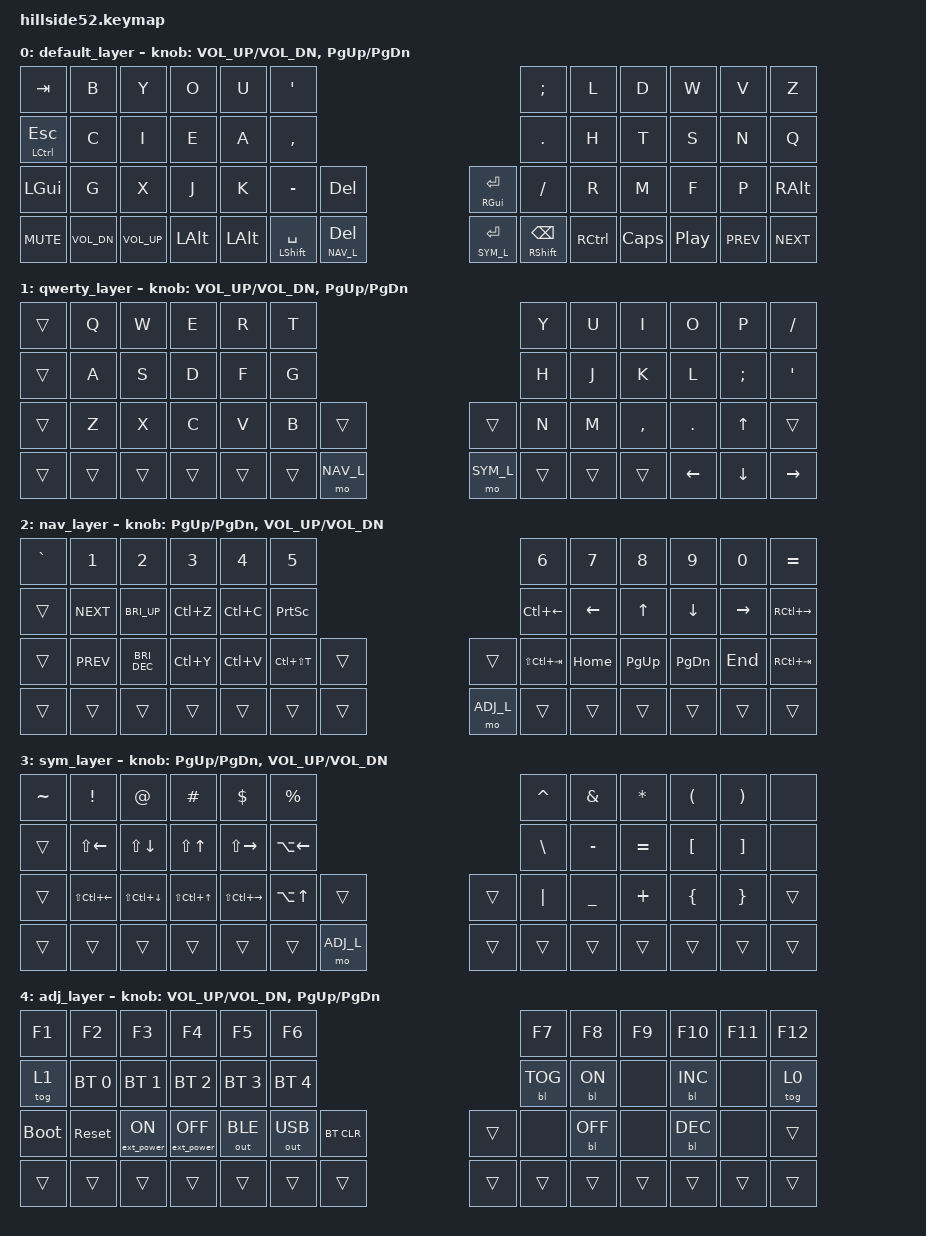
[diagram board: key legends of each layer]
/*
 * Copyright (c) 2021-2022 The ZMK Contributors
 *
 *
 * SPDX-License-Identifier: MIT
 */

#include <behaviors.dtsi>
#include <dt-bindings/zmk/backlight.h>
#include <dt-bindings/zmk/bt.h>
#include <dt-bindings/zmk/ext_power.h>
#include <dt-bindings/zmk/keys.h>
#include <dt-bindings/zmk/outputs.h>

#define ENGRAM_L 0
#define QWERTY_L 1
#define NAV_L    2
#define SYM_L    3
#define ADJ_L    4
#define Undo   LC(Z)
#define Cut    LC(X)
#define Copy   LC(C)
#define Paste  LC(V)
#define Redo   LC(Y)

/ {
    keymap {
        compatible = "zmk,keymap";

        default_layer {
            // ENGRAM
            // -------------------------------------------------------------------------------------------------------------------------------------
            // | ESC   |   B   |   Y   |   O   |   U   |   '   |-----------------------------------|   ;   |   L   |   D   |   W   |   V   |   Z   |
            // | TAB   |   C   |   I   |   E   |   A   |   ,   |-----------------------------------|   .   |   H   |   T   |   S   |   N   |   Q   |
            // | CTRL  |   G   |   X   |   J   |   K   |   -   | DEL   |-------------------| ENTER |   /   |   R   |   M   |   F   |   P   | CTRL  |
            // | GUI   | Copy  | Paste |-------|  ALT  | SHIFT | SPACE |  Nav  |---|  Sym  | BCSC  | SHIFT | ALT   |-------|   `   |   \   |   =   |
            //

            bindings = <
&kp TAB           &kp B         &kp Y         &kp O  &kp U     &kp SQT                                                                             &kp SEMI    &kp L         &kp D  &kp W             &kp V       &kp Z
&mt LCTRL ESCAPE  &kp C         &kp I         &kp E  &kp A     &kp COMMA                                                                           &kp PERIOD  &kp H         &kp T  &kp S             &kp N       &kp Q
&kp LEFT_GUI      &kp G         &kp X         &kp J  &kp K     &kp MINUS  &kp DEL                                             &mt RIGHT_GUI ENTER  &kp SLASH   &kp R         &kp M  &kp F             &kp P       &kp RALT
&kp K_MUTE        &kp C_VOL_DN  &kp C_VOL_UP         &kp LALT  &kp LALT   &mt LSHFT SPACE  &lt NAV_L DELETE  &lt SYM_L ENTER  &mt RSHFT BACKSPACE  &kp RCTRL   &kp CAPSLOCK         &kp C_PLAY_PAUSE  &kp K_PREV  &kp K_NEXT
            >;

            sensor-bindings = <&inc_dec_kp C_VOL_UP C_VOL_DN &inc_dec_kp PG_UP PG_DN>;
        };

        qwerty_layer {
            /* QWERTY
 * -------------------------------------------------------------------------------------------------------------------------------------
 * | ESC   |   Q   |   W   |   E   |   R   |   T   |-----------------------------------|   Y   |   U   |   I   |   O   |   P   |   /   |
 * | TAB   |   A   |   S   |   D   |   F   |   G   |-----------------------------------|   H   |   J   |   K   |   L   |   ;   |   '   |
 * | CTRL  |   Z   |   X   |   C   |   V   |   B   | DEL   |-------------------| ENTER |   N   |   M   |   ,   |   .   |  Up   | CTRL  |
 * | GUI   | Copy  | Paste |-------|  ALT  | SHIFT | SPACE |  Nav  |---|  Sym  | BCSC  | SHIFT | ALT   |-------| Left  | Down  | Right |
 */

            bindings = <
&trans  &kp Q   &kp W   &kp E  &kp R   &kp T                                         &kp Y   &kp U   &kp I      &kp O       &kp P     &kp SLASH
&trans  &kp A   &kp S   &kp D  &kp F   &kp G                                         &kp H   &kp J   &kp K      &kp L       &kp SEMI  &kp SQT
&trans  &kp Z   &kp X   &kp C  &kp V   &kp B   &trans                        &trans  &kp N   &kp M   &kp COMMA  &kp PERIOD  &kp UP    &trans
&trans  &trans  &trans         &trans  &trans  &trans  &mo NAV_L  &mo SYM_L  &trans  &trans  &trans             &kp LEFT    &kp DOWN  &kp RIGHT
            >;

            sensor-bindings = <&inc_dec_kp C_VOL_UP C_VOL_DN &inc_dec_kp PG_UP PG_DN>;
        };

        nav_layer {
            /* NAV
 * -------------------------------------------------------------------------------------------------------------------------------------
 * | Copy  |   1   |   2   |   3   |   4   |   5   |-----------------------------------|   6   |   7   |   8   |   9   |   0   | BSPC  |
 * | Cut   |  GUI  |  Alt  | Ctrl  | Shift | Paste |-----------------------------------| PG UP |  Left |  Up   |  Down | Right | PG DN |
 * | CTRL  |  F1   |  F2   |  F3   |  F4   |  F5   |       |-------------------|       |  F6   |  F7   |  F8   |  F9   |  F10  | CTRL  |
 * | F11   |  F12  |  UnDo |-------|       |       |       |       |---| ADJ_L |       |       |       |-------| ReDo  | HOME  |  END  |
 */

            bindings = <
&kp GRAVE  &kp N1      &kp N2         &kp N3     &kp N4     &kp N5                                              &kp N6           &kp N7    &kp N8       &kp N9         &kp N0     &kp EQUAL
&trans     &kp C_NEXT  &kp C_BRI_UP   &kp LC(Z)  &kp LC(C)  &kp PRINTSCREEN                                     &kp LC(LEFT)     &kp LEFT  &kp UP       &kp DOWN       &kp RIGHT  &kp RC(RIGHT)
&trans     &kp C_PREV  &kp C_BRI_DEC  &kp LC(Y)  &kp LC(V)  &kp LC(LS(T))    &trans                     &trans  &kp LS(LC(TAB))  &kp HOME  &kp PAGE_UP  &kp PAGE_DOWN  &kp END    &kp RC(TAB)
&trans     &trans      &trans                    &trans     &trans           &trans  &trans  &mo ADJ_L  &trans  &trans           &trans                 &trans         &trans     &trans
            >;

            sensor-bindings = <&inc_dec_kp PG_UP PG_DN &inc_dec_kp C_VOL_UP C_VOL_DN>;
        };

        sym_layer {
            /* SYM
 * -------------------------------------------------------------------------------------------------------------------------------------
 * | INS   |   !   |   @   |   #   |   $   |   %   |-----------------------------------|   ^   |   &   |   *   |   (   |   )   | DELETE|
 * | CAPS  |   \   |   -   |   =   |   [   |   ]   |-----------------------------------| Vol+  | Shift | Ctrl  | Alt   | Gui   | ENTER |
 * |       |   |   |   _   |   +   |   {   |   }   |       |-------------------|       | Vol-  |  N0   |  N1   |  N2   |       |       |
 * |       |       | Play  |-------|       |       |       | ADJ_L |---|       |       |       |       |-------| Mute  | MENU  |SkAltGr|
 */

            bindings = <
&kp TILDE  &kp EXCL                &kp AT                  &kp HASH              &kp DOLLAR         &kp PERCENT                                          &kp CARET      &kp AMPS   &kp ASTRK  &kp LPAR          &kp RPAR           &none
&trans     &kp LS(LEFT)            &kp LS(DOWN_ARROW)      &kp LS(UP_ARROW)      &kp LS(RIGHT)      &kp LA(LEFT)                                         &kp BACKSLASH  &kp MINUS  &kp EQUAL  &kp LEFT_BRACKET  &kp RIGHT_BRACKET  &none
&trans     &kp LS(LC(LEFT_ARROW))  &kp LS(LC(DOWN_ARROW))  &kp LS(LC(UP_ARROW))  &kp LS(LC(RIGHT))  &kp LA(UP_ARROW)  &trans                     &trans  &kp PIPE       &kp UNDER  &kp PLUS   &kp LEFT_BRACE    &kp RIGHT_BRACE    &trans
&trans     &trans                  &trans                                        &trans             &trans            &trans  &mo ADJ_L  &trans  &trans  &trans         &trans                &trans            &trans             &trans
            >;

            sensor-bindings = <&inc_dec_kp PG_UP PG_DN &inc_dec_kp C_VOL_UP C_VOL_DN>;
        };

        adj_layer {
            /* ADJUST
 * -------------------------------------------------------------------------------------------------------------------------------------
 * |       | ENGRAM| QWERTY|       |       |       |-----------------------------------|       |Prt Scr|       | EP_OFF| EP_ON |       |
 * |       | BT 0  | BT 1  | BT 2  | BT 3  | BT 4  |-----------------------------------|       |       |       |       |       |       |
 * | BOOTL | RESET |       |OUT_USB|OUT_BLE|       |BT CLR |-------------------|       |       |       |       |       |       | SHIFT |
 * ----------------|       |-------|       |       |       |       |---|       |       |       |       |-------| CTRL  |----------------
 */

            bindings = <
&kp F1       &kp F2        &kp F3            &kp F4             &kp F5        &kp F6                                            &kp F7      &kp F8      &kp F9  &kp F10     &kp F11  &kp F12
&tog 1       &bt BT_SEL 0  &bt BT_SEL 1      &bt BT_SEL 2       &bt BT_SEL 3  &bt BT_SEL 4                                      &bl BL_TOG  &bl BL_ON   &none   &bl BL_INC  &none    &tog 0
&bootloader  &sys_reset    &ext_power EP_ON  &ext_power EP_OFF  &out OUT_BLE  &out OUT_USB  &bt BT_CLR                  &trans  &none       &bl BL_OFF  &none   &bl BL_DEC  &none    &trans
&trans       &trans        &trans                               &trans        &trans        &trans      &trans  &trans  &trans  &trans      &trans              &trans      &trans   &trans
            >;

            sensor-bindings = <&inc_dec_kp C_VOL_UP C_VOL_DN &inc_dec_kp PG_UP PG_DN>;
        };
    };
};
